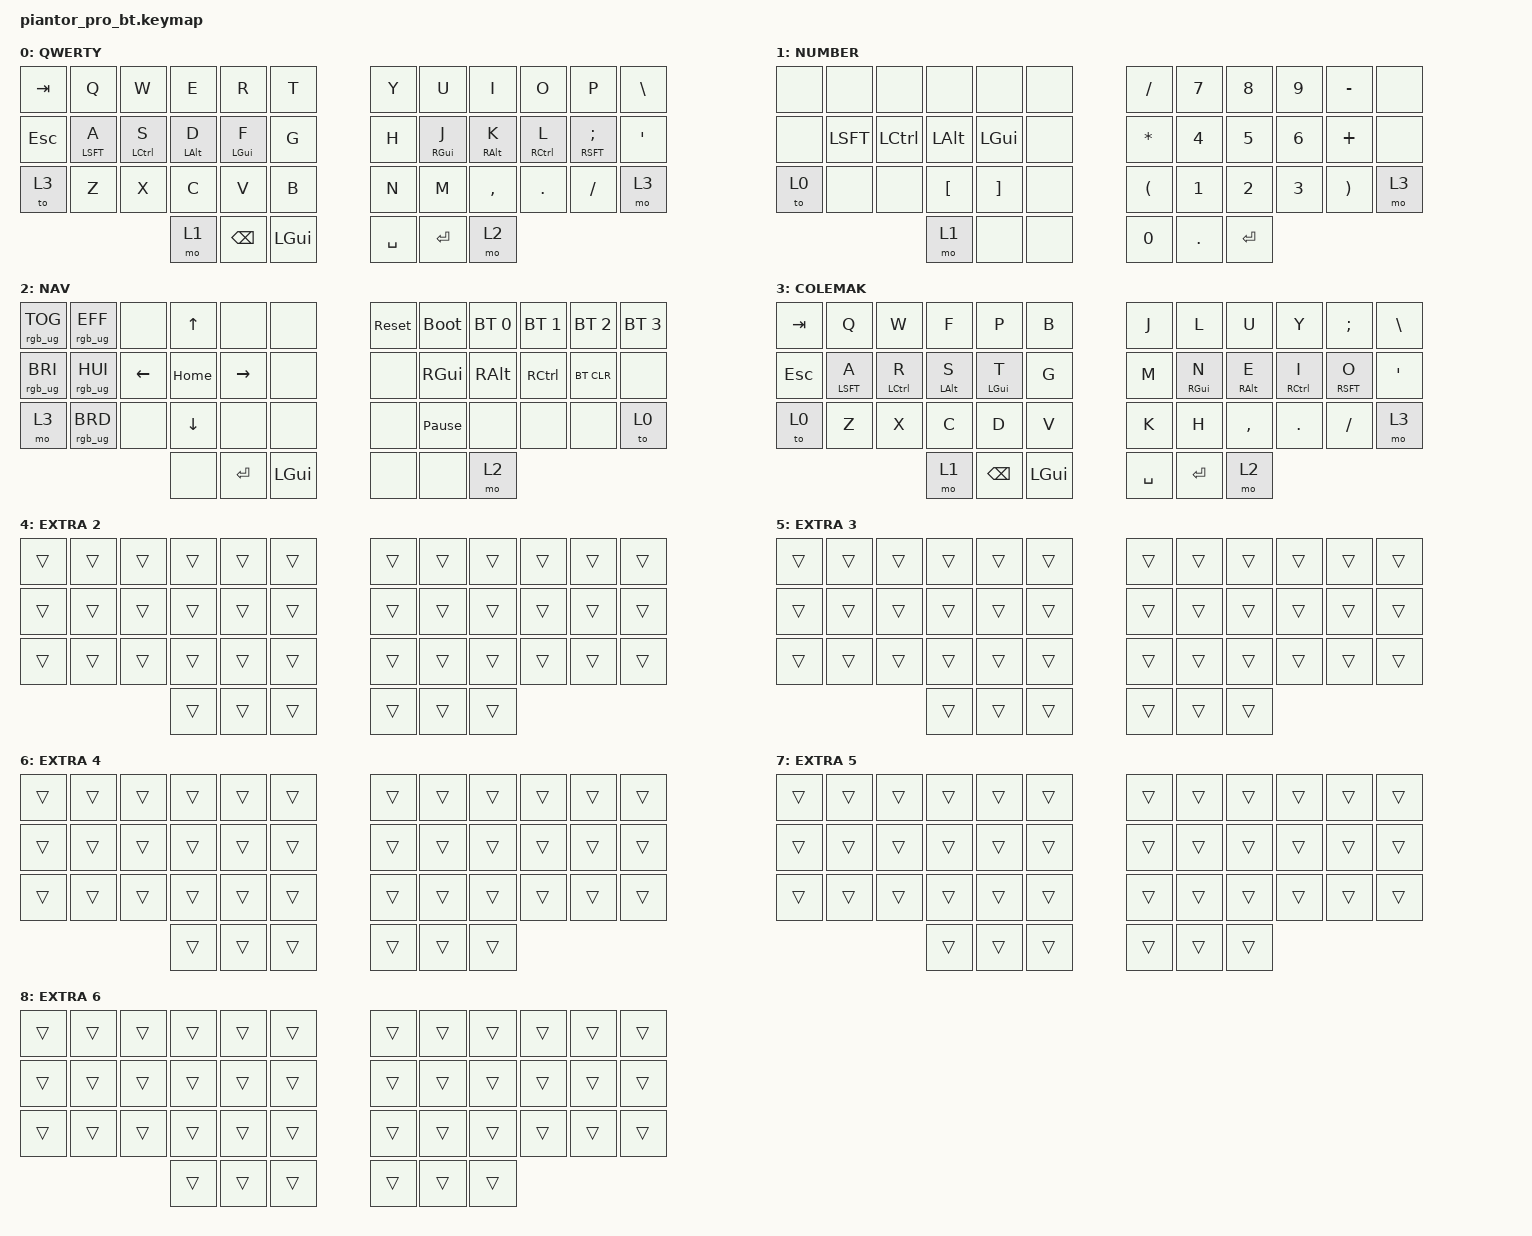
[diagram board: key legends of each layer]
/*
 * Copyright (c) 2020 The ZMK Contributors
 *
 * SPDX-License-Identifier: MIT
 */

#include <behaviors.dtsi>
#include <dt-bindings/zmk/keys.h>
#include <dt-bindings/zmk/bt.h>
#include <dt-bindings/zmk/rgb.h>

/ {
    chosen {
        zmk,physical-layout = &default_layout;
    };

    behaviors {
        lhm: left_homerow_mods {
            compatible = "zmk,behavior-hold-tap";
            #binding-cells = <2>;
            tapping-term-ms = <280>;
            quick-tap-ms = <175>;
            require-prior-idle-ms = <150>;
            flavor = "balanced";
            hold-trigger-key-positions = <6 7 8 9 10 11 18 19 20 21 22 23 30 31 32 33 34 35 39 40 41>;
            bindings = <&kp>, <&kp>;
        };

        rhm: right_homerow_mods {
            compatible = "zmk,behavior-hold-tap";
            #binding-cells = <2>;
            tapping-term-ms = <280>;
            quick-tap-ms = <175>;
            require-prior-idle-ms = <150>;
            flavor = "balanced";
            hold-trigger-key-positions = <0 1 2 3 4 5 12 13 14 15 16 17 24 25 26 27 28 29 36 37 38>;
            bindings = <&kp>, <&kp>;
        };
    };
};

/ {
    keymap {
        compatible = "zmk,keymap";

        default_layer {
            display-name = "QWERTY";
            // -----------------------------------------------------------------------------------------
            // |  TAB |  Q  |  W  |  E  |  R  |  T  |  Y  |  U  |  I  |  O  |  P  |  \  |
            // |  ESC |  A  |  S  |  D  |  F  |  G  |  H  |  J  |  K  |  L  |  ;  |  '  |
            // | TO(0)|  Z  |  X  |  C  |  V  |  B  |  N  |  M  |  ,  |  .  |  /  |MO(3)|
            //               | MO(1) | BSPC | LGUI |   | SPC | ENT | MO(2) |
            // Home row mods: lhm LSFT/A  lhm LCTL/S  lhm LALT/D  lhm LGUI/F  rhm RGUI/J  rhm RALT/K  rhm RCTL/L  rhm RSFT/;
            bindings = <
                &kp TAB  &kp Q      &kp W      &kp E      &kp R      &kp T    &kp Y &kp U       &kp I       &kp O       &kp P          &kp BSLH
                &kp ESC  &lhm LSFT A &lhm LCTRL S &lhm LALT D &lhm LGUI F &kp G   &kp H &rhm RGUI J  &rhm RALT K  &rhm RCTRL L &rhm RSFT SEMI  &kp SQT
                &to 3    &kp Z      &kp X      &kp C      &kp V      &kp B    &kp N &kp M       &kp COMMA   &kp DOT     &kp FSLH       &mo 3
                                               &mo 1      &kp BSPC   &kp LGUI &kp SPACE &kp RET &mo 2
            >;
        };

        lower_layer {
            display-name = "NUMBER";
            // -----------------------------------------------------------------------------------------
            // |     |     |     |     |     |     |  /  |  7  |  8  |  9  |     |  -  |
            // |     | LSft|LCTL |LALT |LGUI |     |  *  |  4  |  5  |  6  |     |  +  |
            // |TO(0)|     |     |  {[ |  }] |     |  (  |  1  |  2  |  3  |     |  )  |
            //                   |MO(1)| none| none|  0  |  .  | ENT |
            bindings = <
                &none  &none     &none     &none     &none     &none     &kp FSLH  &kp N7  &kp N8  &kp N9  &kp MINUS &none
                &none  &kp LSFT  &kp LCTRL &kp LALT  &kp LGUI  &none     &kp ASTRK &kp N4  &kp N5  &kp N6  &kp PLUS  &none
                &to 0  &none     &none     &kp LBKT  &kp RBKT  &none     &kp LPAR  &kp N1  &kp N2  &kp N3  &kp RPAR  &mo 3
                                           &mo 1     &none     &none     &kp N0    &kp DOT &kp RET
            >;
        };

        raise_layer {
            display-name = "NAV";
            // -----------------------------------------------------------------------------------------
            // | TOG | EFF |     | UP  |     |     | RST | BOOT| BT0 | BT1 | BT2 | BT3 |
            // | BRI | HUI | LFT | HOM | RGT |     | none| RGUI| RALT|RCTL |BTCLR| none|
            // |MO(3)| BRD |     | DN  |     |     | none| PAUS| none| none| none|TO(0)|
            //                   | none| ENT | GUI | none| none|MO(2)|
            bindings = <
                &rgb_ug RGB_TOG  &rgb_ug RGB_EFF  &none    &kp UP    &none      &none    &sys_reset     &bootloader    &bt BT_SEL 0 &bt BT_SEL 1 &bt BT_SEL 2 &bt BT_SEL 3
                &rgb_ug RGB_BRI  &rgb_ug RGB_HUI  &kp LEFT &kp HOME  &kp RIGHT  &none    &none          &kp RGUI       &kp RALT     &kp RCTRL    &bt BT_CLR   &none
                &mo 3            &rgb_ug RGB_BRD  &none    &kp DOWN  &none      &none    &none          &kp PAUSE_BREAK &none       &none        &none        &to 0
                                                  &none    &kp RET   &kp LGUI   &none    &none &mo 2
            >;
        };

        colemak_layer {
            display-name = "COLEMAK";
            // -----------------------------------------------------------------------------------------
            // |  TAB |  Q  |  W  |  F  |  P  |  B  |  J  |  L  |  U  |  Y  |  ;  |  \  |
            // |  ESC |  A  |  R  |  S  |  T  |  G  |  M  |  N  |  E  |  I  |  O  |  '  |
            // | TO(0)|  Z  |  X  |  C  |  D  |  V  |  K  |  H  |  ,  |  .  |  /  |MO(3)|
            //               | MO(1) | BSPC | LGUI |   | SPC | ENT | MO(2) |
            // Home row mods: lhm LSFT/A  lhm LCTL/R  lhm LALT/S  lhm LGUI/T  rhm RGUI/N  rhm RALT/E  rhm RCTL/I  rhm RSFT/O
            bindings = <
                &kp TAB  &kp Q      &kp W       &kp F      &kp P      &kp B    &kp J &kp L       &kp U       &kp Y       &kp SEMI       &kp BSLH
                &kp ESC  &lhm LSFT A &lhm LCTRL R &lhm LALT S &lhm LGUI T &kp G    &kp M &rhm RGUI N  &rhm RALT E  &rhm RCTRL I &rhm RSFT O     &kp SQT
                &to 0    &kp Z      &kp X       &kp C      &kp D      &kp V    &kp K &kp H       &kp COMMA   &kp DOT     &kp FSLH       &mo 3
                                                &mo 1      &kp BSPC   &kp LGUI &kp SPACE &kp RET &mo 2
            >;
        };

        extra_layer_2 {
            display-name = "EXTRA 2";
            bindings = <
                &trans &trans &trans &trans &trans &trans  &trans &trans &trans &trans &trans &trans
                &trans &trans &trans &trans &trans &trans  &trans &trans &trans &trans &trans &trans
                &trans &trans &trans &trans &trans &trans  &trans &trans &trans &trans &trans &trans
                                     &trans &trans &trans  &trans &trans &trans       
            >;
        };

        extra_layer_3 {
            display-name = "EXTRA 3";
            bindings = <
                &trans &trans &trans &trans &trans &trans  &trans &trans &trans &trans &trans &trans
                &trans &trans &trans &trans &trans &trans  &trans &trans &trans &trans &trans &trans
                &trans &trans &trans &trans &trans &trans  &trans &trans &trans &trans &trans &trans
                                     &trans &trans &trans  &trans &trans &trans       
            >;
        };

        extra_layer_4 {
            display-name = "EXTRA 4";
            bindings = <
                &trans &trans &trans &trans &trans &trans  &trans &trans &trans &trans &trans &trans
                &trans &trans &trans &trans &trans &trans  &trans &trans &trans &trans &trans &trans
                &trans &trans &trans &trans &trans &trans  &trans &trans &trans &trans &trans &trans
                                     &trans &trans &trans  &trans &trans &trans       
            >;
        };

        extra_layer_5 {
            display-name = "EXTRA 5";
            bindings = <
                &trans &trans &trans &trans &trans &trans  &trans &trans &trans &trans &trans &trans
                &trans &trans &trans &trans &trans &trans  &trans &trans &trans &trans &trans &trans
                &trans &trans &trans &trans &trans &trans  &trans &trans &trans &trans &trans &trans
                                     &trans &trans &trans  &trans &trans &trans       
            >;
        };

        extra_layer_6 {
            display-name = "EXTRA 6";
            bindings = <
                &trans &trans &trans &trans &trans &trans  &trans &trans &trans &trans &trans &trans
                &trans &trans &trans &trans &trans &trans  &trans &trans &trans &trans &trans &trans
                &trans &trans &trans &trans &trans &trans  &trans &trans &trans &trans &trans &trans
                                     &trans &trans &trans  &trans &trans &trans       
            >;
        };
    };
};
